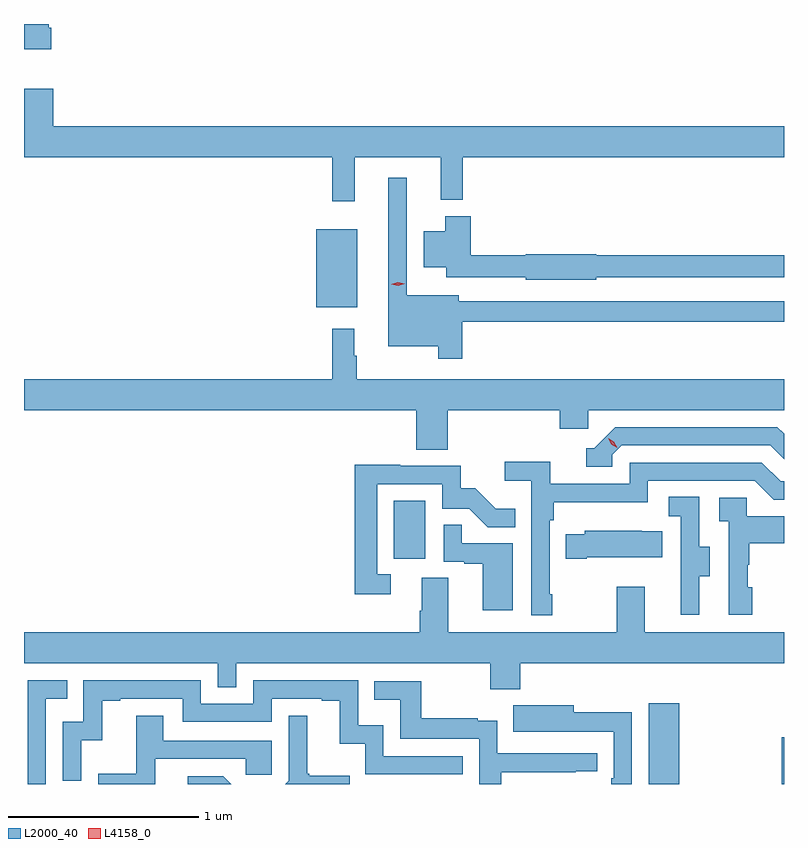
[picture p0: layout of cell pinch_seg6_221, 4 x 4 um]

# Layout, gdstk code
import gdstk
lib = gdstk.Library(unit=1e-6, precision=1e-09)
def R(c, l, rs):  # rectangles x0, y0, x1, y1
    for r in rs: c.add(gdstk.rectangle(r[:2], r[2:], *l))
def P(c, l, *ps):  # polygons
    for p in ps: c.add(gdstk.Polygon(p, *l))
L2000_40 = (2000, 40)
L4158_0 = (4158, 0)

pinch_seg6_221 = lib.new_cell('pinch_seg6_221')
R(pinch_seg6_221, L2000_40, [(1119.485,922.725,1119.646,923.149), (1120.184,922.725,1120.197,922.972), (1118.144,923.91,1118.308,924.217), (1117.736,925.235,1117.951,925.645)])
P(pinch_seg6_221, L2000_40, [(1116.341,926.704),(1116.328,926.704),(1116.328,926.725),(1116.197,926.725),(1116.197,926.592),(1116.341,926.592)],
  [(1117.937,926.024),(1118.39,926.024),(1118.39,925.799),(1118.507,925.799),(1118.507,926.024),(1120.197,926.024),(1120.197,926.188),(1116.35,926.188),(1116.35,926.383),(1116.197,926.383),(1116.197,926.024),(1117.819,926.024),(1117.819,925.791),(1117.937,925.791)],
  [(1118.504,925.158),(1120.197,925.158),(1120.197,925.266),(1118.485,925.266),(1118.485,925.297),(1118.211,925.297),(1118.211,925.915),(1118.114,925.915),(1118.114,925.028),(1118.376,925.028),(1118.376,924.963),(1118.504,924.963)],
  [(1119.21,925.392),(1120.197,925.392),(1120.197,925.508),(1119.21,925.508),(1119.21,925.514),(1118.838,925.514),(1118.838,925.508),(1118.549,925.508),(1118.549,925.714),(1118.414,925.714),(1118.414,925.633),(1118.3,925.633),(1118.3,925.445),(1118.42,925.445),(1118.42,925.392),(1118.838,925.392),(1118.838,925.379),(1119.21,925.379)],
  [(1118.426,924.692),(1119.017,924.692),(1119.017,924.594),(1119.168,924.594),(1119.168,924.692),(1120.197,924.692),(1120.197,924.856),(1117.948,924.856),(1117.948,924.98),(1117.936,924.98),(1117.936,925.12),(1117.819,925.12),(1117.819,924.856),(1116.197,924.856),(1116.197,924.692),(1118.261,924.692),(1118.261,924.484),(1118.426,924.484)],
  [(1119.294,924.459),(1119.342,924.507),(1120.125,924.507),(1120.197,924.435),(1120.197,924.568),(1120.162,924.603),(1119.309,924.603),(1119.198,924.492),(1119.155,924.492),(1119.155,924.396),(1119.294,924.396)],
  [(1118.977,923.725),(1118.964,923.725),(1118.964,924.113),(1118.984,924.113),(1118.984,924.209),(1119.48,924.209),(1119.48,924.321),(1120.044,924.321),(1120.143,924.222),(1120.197,924.222),(1120.197,924.318),(1120.18,924.318),(1120.081,924.417),(1119.384,924.417),(1119.384,924.306),(1118.966,924.306),(1118.966,924.422),(1118.727,924.422),(1118.727,924.32),(1118.868,924.32),(1118.868,923.613),(1118.977,923.613)],
  [(1118.128,923.829),(1118.055,923.829),(1118.055,924.303),(1118.397,924.303),(1118.397,924.174),(1118.541,924.174),(1118.639,924.076),(1118.783,924.076),(1118.783,924.175),(1118.679,924.175),(1118.572,924.282),(1118.496,924.282),(1118.496,924.399),(1118.177,924.399),(1118.177,924.404),(1117.939,924.404),(1117.939,923.724),(1118.128,923.724)],
  [(1119.751,923.818),(1119.805,923.818),(1119.805,923.973),(1119.75,923.973),(1119.75,924.236),(1119.591,924.236),(1119.591,924.133),(1119.654,924.133),(1119.654,923.829),(1119.653,923.829),(1119.653,923.616),(1119.751,923.616)],
  [(1120.03,923.76),(1120.005,923.76),(1120.005,923.879),(1120.015,923.879),(1120.015,923.993),(1120.197,923.993),(1120.197,924.133),(1120.002,924.133),(1120.002,924.231),(1119.855,924.231),(1119.855,924.107),(1119.906,924.107),(1119.906,923.616),(1120.03,923.616)],
  [(1118.77,923.991),(1118.501,923.991),(1118.501,924.089),(1118.406,924.089),(1118.406,923.895),(1118.513,923.895),(1118.513,923.883),(1118.612,923.883),(1118.612,923.64),(1118.77,923.64)],
  [(1119.16,923.918),(1119.557,923.918),(1119.557,924.055),(1119.449,924.055),(1119.449,924.058),(1119.147,924.058),(1119.147,924.04),(1119.049,924.04),(1119.049,923.911),(1119.16,923.911)],
  [(1118.81,923.36),(1120.197,923.36),(1120.197,923.524),(1119.463,923.524),(1119.463,923.764),(1119.316,923.764),(1119.316,923.524),(1118.431,923.524),(1118.431,923.81),(1118.291,923.81),(1118.291,923.636),(1118.279,923.636),(1118.279,923.524),(1116.197,923.524),(1116.197,923.36),(1117.218,923.36),(1117.218,923.233),(1117.314,923.233),(1117.314,923.36),(1118.65,923.36),(1118.65,923.225),(1118.81,923.225)],
  [(1116.312,923.175),(1116.425,923.175),(1116.425,923.271),(1116.216,923.271),(1116.216,922.725),(1116.312,922.725)],
  [(1116.498,922.955),(1116.608,922.955),(1116.608,923.163),(1116.703,923.163),(1116.703,923.175),(1117.032,923.175),(1117.032,923.052),(1117.5,923.052),(1117.5,923.175),(1117.763,923.175),(1117.763,923.163),(1117.859,923.163),(1117.859,922.937),(1117.992,922.937),(1117.992,922.776),(1118.507,922.776),(1118.507,922.872),(1118.088,922.872),(1118.088,923.035),(1117.956,923.035),(1117.956,923.271),(1117.404,923.271),(1117.404,923.148),(1117.128,923.148),(1117.128,923.271),(1116.51,923.271),(1116.51,923.052),(1116.402,923.052),(1116.402,922.743),(1116.498,922.743)],
  [(1118.708,922.786),(1119.101,922.786),(1119.101,922.791),(1119.214,922.791),(1119.214,922.887),(1118.688,922.887),(1118.688,923.059),(1118.585,923.059),(1118.585,923.071),(1118.287,923.071),(1118.287,923.265),(1118.041,923.265),(1118.041,923.168),(1118.176,923.168),(1118.176,922.962),(1118.592,922.962),(1118.592,922.725),(1118.708,922.725)],
  [(1119.396,923.102),(1119.091,923.102),(1119.091,923.14),(1118.773,923.14),(1118.773,923),(1118.987,923),(1118.987,923.001),(1119.3,923.001),(1119.3,922.756),(1119.287,922.756),(1119.287,922.725),(1119.396,922.725)],
  [(1116.889,922.857),(1117.363,922.857),(1117.363,922.773),(1117.5,922.773),(1117.5,922.953),(1116.931,922.953),(1116.931,923.083),(1116.787,923.083),(1116.787,922.78),(1116.588,922.78),(1116.588,922.725),(1116.889,922.725)],
  [(1117.912,922.768),(1117.699,922.768),(1117.699,922.78),(1117.687,922.78),(1117.687,923.083),(1117.59,923.083),(1117.59,922.743),(1117.572,922.725),(1117.912,922.725)],
  [(1117.246,922.767),(1117.059,922.767),(1117.059,922.725),(1117.288,922.725)])
P(pinch_seg6_221, L4158_0, [(1118.166,925.347),(1118.13,925.354),(1118.13,925.355),(1118.13,925.355),(1118.165,925.367),(1118.201,925.359),(1118.201,925.359),(1118.201,925.359)],
  [(1119.319,924.494),(1119.288,924.512),(1119.271,924.545),(1119.271,924.545),(1119.271,924.545),(1119.302,924.526),(1119.319,924.494),(1119.319,924.494)])

lib.write_gds('pinch_seg6_221.gds')
